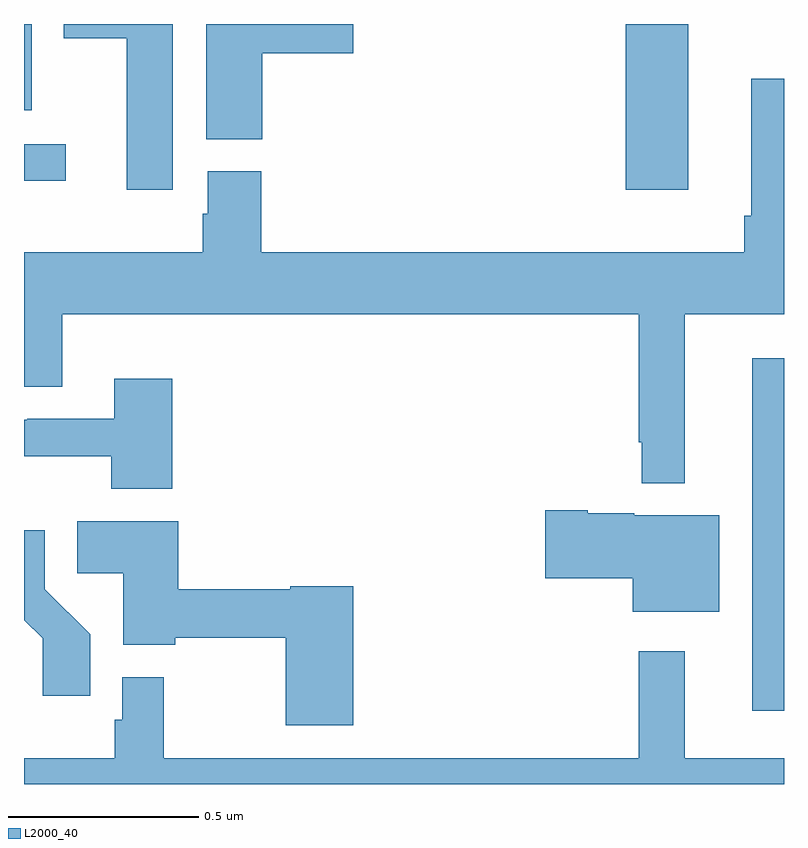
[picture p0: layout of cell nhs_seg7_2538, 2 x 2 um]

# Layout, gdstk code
import gdstk
lib = gdstk.Library(unit=1e-6, precision=1e-09)
def R(c, l, rs):  # rectangles x0, y0, x1, y1
    for r in rs: c.add(gdstk.rectangle(r[:2], r[2:], *l))
def P(c, l, *ps):  # polygons
    for p in ps: c.add(gdstk.Polygon(p, *l))
L2000_40 = (2000, 40)

nhs_seg7_2538 = lib.new_cell('nhs_seg7_2538')
R(nhs_seg7_2538, L2000_40, [(147.917,1046.193,148,1047.121), (147.584,1047.564,147.748,1048), (146,1047.587,146.11,1047.684), (146,1047.773,146.02,1048)])
P(nhs_seg7_2538, L2000_40, [(146.627,1047.923),(146.867,1047.923),(146.867,1048),(146.48,1048),(146.48,1047.697),(146.627,1047.697)],
  [(146.392,1048),(146.105,1048),(146.105,1047.962),(146.27,1047.962),(146.27,1047.564),(146.392,1047.564)],
  [(147.739,1047.236),(148,1047.236),(148,1047.856),(147.914,1047.856),(147.914,1047.496),(147.895,1047.496),(147.895,1047.4),(146.624,1047.4),(146.624,1047.612),(146.483,1047.612),(146.483,1047.501),(146.471,1047.501),(146.471,1047.4),(146,1047.4),(146,1047.046),(146.101,1047.046),(146.101,1047.236),(147.618,1047.236),(147.618,1046.899),(147.625,1046.899),(147.625,1046.792),(147.739,1046.792)],
  [(146.39,1047.067),(146.237,1047.067),(146.237,1046.961),(146.008,1046.961),(146.008,1046.958),(146,1046.958),(146,1046.862),(146.23,1046.862),(146.23,1046.777),(146.39,1046.777)],
  [(147.829,1046.707),(147.606,1046.707),(147.606,1046.713),(147.484,1046.713),(147.484,1046.72),(147.372,1046.72),(147.372,1046.542),(147.602,1046.542),(147.602,1046.453),(147.829,1046.453)],
  [(146.867,1046.521),(146.7,1046.521),(146.7,1046.513),(146.406,1046.513),(146.406,1046.692),(146.14,1046.692),(146.14,1046.554),(146.261,1046.554),(146.261,1046.366),(146.398,1046.366),(146.398,1046.385),(146.689,1046.385),(146.689,1046.154),(146.867,1046.154)],
  [(146.174,1046.394),(146.055,1046.513),(146.055,1046.668),(146,1046.668),(146,1046.431),(146.049,1046.383),(146.049,1046.232),(146.174,1046.232)],
  [(148,1046.068),(147.739,1046.068),(147.739,1046.35),(147.618,1046.35),(147.618,1046.068),(146.368,1046.068),(146.368,1046.281),(146.259,1046.281),(146.259,1046.169),(146.239,1046.169),(146.239,1046.068),(146,1046.068),(146,1046),(148,1046)])

lib.write_gds('nhs_seg7_2538.gds')
